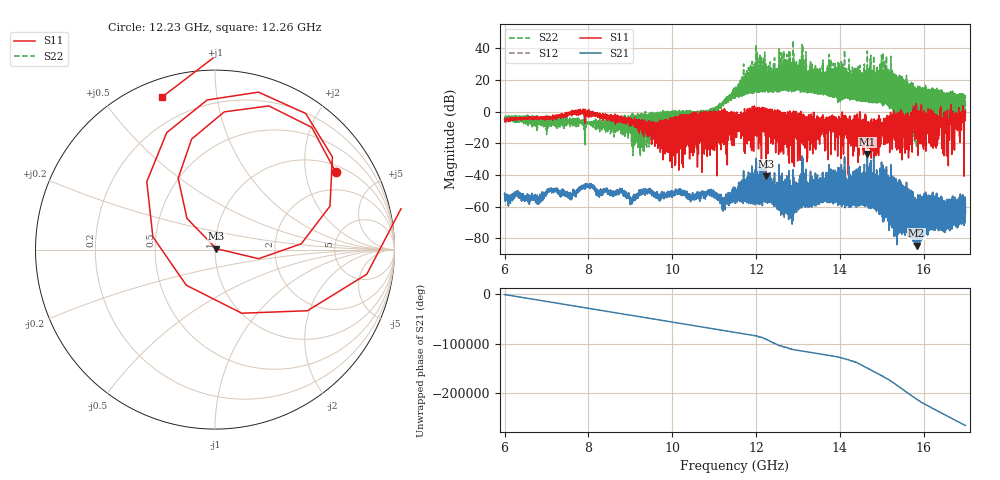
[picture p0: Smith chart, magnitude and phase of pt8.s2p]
#  HZ  S  RI  R  50.00
! Rohde & Schwarz Vector Network Analyzer
! Rohde-Schwarz,ZNA67-2Port,1332450062101215,3.01
! Created: UTC 10/15/2026, 12:38:18 PM
! freq[Hz]  re:S11  im:S11  re:S21  im:S21  re:S12  im:S12  re:S22  im:S22
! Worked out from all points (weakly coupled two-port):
!   11001 points, 6 GHz to 17 GHz, reference 50 ohm
!   highest |S21| = -26.86 dB at 14.66 GHz (marker M1); lowest = -84.7 dB at 15.83 GHz (marker M2)
!   lowest |S11| = -40.9 dB at 12.24 GHz (marker M3), VSWR 1.02, Z = 50.7 + j0.546 ohm
!   |S11| at or under -10 dB: 9.541722 GHz to 9.556621 GHz (14.9 MHz wide, 0.156 % of centre); 14.19386 GHz to 14.20772 GHz (13.87 MHz wide, 0.0976 % of centre); 14.78603 GHz to 14.80101 GHz (14.99 MHz wide, 0.101 % of centre) (the widest 3 of 570)
!   |S22| runs from -27.8 to 44.9 dB; largest |S21 - S12| = 0.0031
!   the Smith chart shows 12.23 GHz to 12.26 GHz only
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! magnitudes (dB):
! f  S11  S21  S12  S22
! 6 GHz  -5.0  -52.1  -52.1  -5.0
! 6.787 GHz  -4.2  -58.6  -58.5  -4.4
! 7.063 GHz  -4.0  -50.0  -49.9  -8.8
! 7.564 GHz  -1.3  -55.1  -54.9  -8.9
! 7.834 GHz  -0.8  -47.2  -47.0  -6.4
! 8.779 GHz  -2.7  -49.8  -49.5  -3.9
! 9.025 GHz  -5.9  -55.7  -55.9  -2.8
! 9.277 GHz  -6.9  -52.0  -51.9  -7.1
! 9.667 GHz  -8.2  -54.8  -55.2  -0.8
! 10.83 GHz  -3.8  -52.5  -52.6  0.0
! 11.23 GHz  -0.2  -55.9  -55.9  6.4
! 11.5 GHz  -3.7  -54.6  -55.1  10.3
! 12.24 GHz  -40.9  -50.4  -50.1  18.0
! 12.84 GHz  -21.6  -66.8  -66.7  14.4
! 13.11 GHz  -8.7  -59.1  -58.5  12.6
! 13.33 GHz  -14.1  -56.5  -56.7  15.7
! 14.66 GHz  -9.5  -26.9  -27.2  38.3
! 15.17 GHz  -13.1  -64.9  -64.9  5.1
! 15.65 GHz  -3.3  -71.1  -70.6  -2.2
! 15.83 GHz  3.8  -84.7  -85.5  -22.8
! 16.57 GHz  0.5  -69.7  -68.6  -1.5
! 17 GHz  0.8  -63.9  -64.2  1.7
